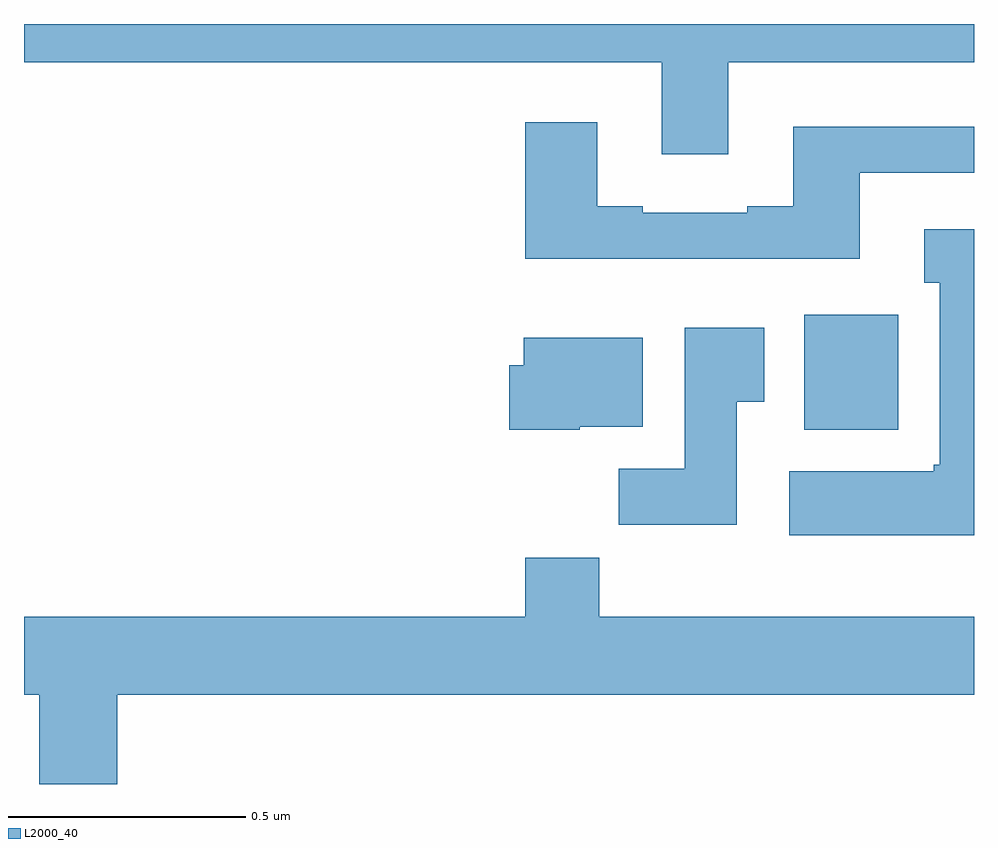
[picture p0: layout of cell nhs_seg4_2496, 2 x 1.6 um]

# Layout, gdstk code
import gdstk
lib = gdstk.Library(unit=1e-6, precision=1e-09)
def R(c, l, rs):  # rectangles x0, y0, x1, y1
    for r in rs: c.add(gdstk.rectangle(r[:2], r[2:], *l))
def P(c, l, *ps):  # polygons
    for p in ps: c.add(gdstk.Polygon(p, *l))
L2000_40 = (2000, 40)

nhs_seg4_2496 = lib.new_cell('nhs_seg4_2496')
R(nhs_seg4_2496, L2000_40, [(142.643,796.046,142.84,796.288)])
P(nhs_seg4_2496, L2000_40, [(143,796.9),(141,796.9),(141,796.82),(142.343,796.82),(142.343,796.626),(142.483,796.626),(142.483,796.82),(143,796.82)],
  [(142.759,796.587),(143,796.587),(143,796.684),(142.619,796.684),(142.619,796.516),(142.523,796.516),(142.523,796.503),(142.303,796.503),(142.303,796.516),(142.207,796.516),(142.207,796.693),(142.055,796.693),(142.055,796.406),(142.759,796.406)],
  [(143,796.468),(142.895,796.468),(142.895,796.355),(142.928,796.355),(142.928,795.972),(142.915,795.972),(142.915,795.958),(142.611,795.958),(142.611,795.824),(143,795.824)],
  [(142.501,796.105),(142.558,796.105),(142.558,796.261),(142.391,796.261),(142.391,795.964),(142.252,795.964),(142.252,795.846),(142.501,795.846)],
  [(142.17,796.052),(142.303,796.052),(142.303,796.24),(142.052,796.24),(142.052,796.182),(142.022,796.182),(142.022,796.046),(142.17,796.046)],
  [(141.196,795.488),(143,795.488),(143,795.652),(142.211,795.652),(142.211,795.776),(142.055,795.776),(142.055,795.652),(141,795.652),(141,795.488),(141.032,795.488),(141.032,795.3),(141.196,795.3)])

lib.write_gds('nhs_seg4_2496.gds')
